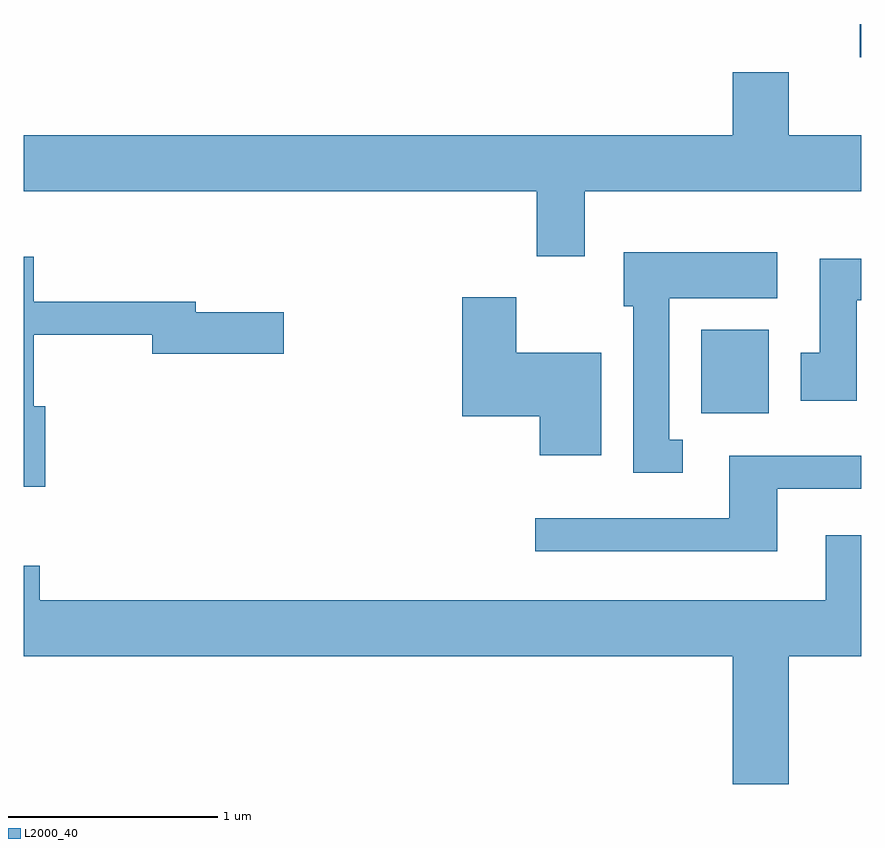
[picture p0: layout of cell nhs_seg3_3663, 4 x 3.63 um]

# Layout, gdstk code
import gdstk
lib = gdstk.Library(unit=1e-6, precision=1e-09)
def R(c, l, rs):  # rectangles x0, y0, x1, y1
    for r in rs: c.add(gdstk.rectangle(r[:2], r[2:], *l))
def P(c, l, *ps):  # polygons
    for p in ps: c.add(gdstk.Polygon(p, *l))
L2000_40 = (2000, 40)

nhs_seg3_3663 = lib.new_cell('nhs_seg3_3663')
R(nhs_seg3_3663, L2000_40, [(294.846,1235.956,295.169,1236.354), (295.603,1237.656,295.611,1237.814)])
P(nhs_seg3_3663, L2000_40, [(294.289,1237.016),(295.611,1237.016),(295.611,1237.284),(295.264,1237.284),(295.264,1237.584),(294.996,1237.584),(294.996,1237.284),(291.611,1237.284),(291.611,1237.016),(294.061,1237.016),(294.061,1236.706),(294.289,1236.706)],
  [(294.758,1235.829),(294.694,1235.829),(294.694,1236.506),(295.209,1236.506),(295.209,1236.724),(294.476,1236.724),(294.476,1236.466),(294.521,1236.466),(294.521,1235.671),(294.758,1235.671)],
  [(291.714,1235.989),(291.659,1235.989),(291.659,1236.331),(292.226,1236.331),(292.226,1236.241),(292.854,1236.241),(292.854,1236.439),(292.434,1236.439),(292.434,1236.489),(291.659,1236.489),(291.659,1236.703),(291.611,1236.703),(291.611,1235.606),(291.714,1235.606)],
  [(295.589,1236.496),(295.611,1236.496),(295.611,1236.694),(295.411,1236.694),(295.411,1236.244),(295.321,1236.244),(295.321,1236.016),(295.589,1236.016)],
  [(294.369,1236.244),(293.964,1236.244),(293.964,1236.509),(293.706,1236.509),(293.706,1235.941),(294.076,1235.941),(294.076,1235.756),(294.369,1235.756)],
  [(295.209,1235.596),(295.611,1235.596),(295.611,1235.754),(294.981,1235.754),(294.981,1235.454),(294.053,1235.454),(294.053,1235.296),(295.209,1235.296)],
  [(295.264,1234.796),(295.611,1234.796),(295.611,1235.374),(295.441,1235.374),(295.441,1235.064),(291.689,1235.064),(291.689,1235.229),(291.611,1235.229),(291.611,1234.796),(294.996,1234.796),(294.996,1234.186),(295.264,1234.186)])

lib.write_gds('nhs_seg3_3663.gds')
